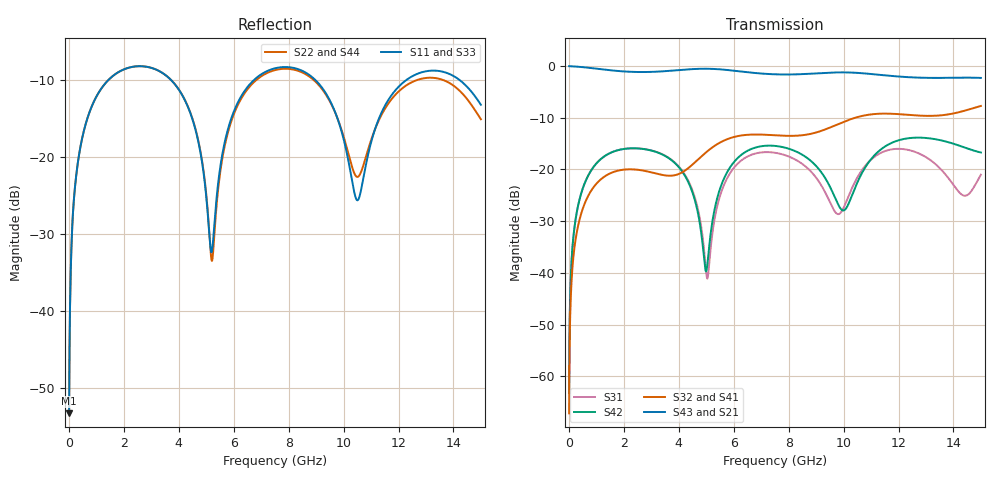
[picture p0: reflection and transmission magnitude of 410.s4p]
! Created with skrf 1.8.0 (http://scikit-rf.org).
# GHz S RI R 50.0
!freq ReS11 ImS11 ReS12 ImS12 ReS13 ImS13
! ReS14 ImS14
! ReS21 ImS21 ReS22 ImS22 ReS23 ImS23
! ReS24 ImS24
! ReS31 ImS31 ReS32 ImS32 ReS33 ImS33
! ReS34 ImS34
! ReS41 ImS41 ReS42 ImS42 ReS43 ImS43
! ReS44 ImS44
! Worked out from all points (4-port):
!   2499 points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, 5 MHz to 15 GHz, reference 50 ohm
!   strongest paths, dB at 5 MHz, 3.476 GHz, 7.19 GHz, 11.1 GHz, 15 GHz:
!     S43: 0.0, -1.0, -1.5, -1.6, -2.3
!     S21: 0.0, -1.0, -1.5, -1.6, -2.3
!     S32: -67.2, -21.1, -13.3, -9.3, -7.7
!     S41: -67.2, -21.1, -13.3, -9.3, -7.7
!     S42: -63.2, -17.3, -15.4, -17.4, -16.7
!     S31: -63.2, -17.3, -16.6, -17.7, -21.0
!   lowest |S11| = -53.3 dB at 5 MHz (marker M1), VSWR 1.00, Z = 50.2 + j0.131 ohm
!   |S11| at or under -10 dB: start of sweep to 1.419 GHz; 3.732 GHz to 6.72 GHz (2.988 GHz wide, 57.2 % of centre); 8.988 GHz to 12.26 GHz (3.276 GHz wide, 30.8 % of centre) (the widest 3 of 4)
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0.005  0.00172 0.00131  0.9982 -0.00335  8.69e-05 0.000686  -8.43e-05 -0.00043
       0.9982 -0.00335  0.00172 0.00131  -8.43e-05 -0.00043  8.69e-05 0.000686
       8.69e-05 0.000686  -8.43e-05 -0.00043  0.00172 0.00131  0.9982 -0.00335
       -8.43e-05 -0.00043  8.69e-05 0.000686  0.9982 -0.00335  0.00172 0.00131
0.3126303  0.0261 0.0857  0.9643 -0.2081  0.0121 0.0405  -0.0101 -0.025
           0.9643 -0.2081  0.0261 0.0857  -0.0101 -0.025  0.0121 0.0405
           0.0121 0.0405  -0.0101 -0.025  0.0261 0.0857  0.9643 -0.2081
           -0.0101 -0.025  0.0121 0.0405  0.9643 -0.2081  0.0261 0.0857
1.569404  0.2887 0.1698  0.5074 -0.7525  0.136 0.0562  -0.0934 0.00103
          0.5074 -0.7525  0.2887 0.1698  -0.0934 0.00105  0.1359 0.0564
          0.136 0.0562  -0.0934 0.00105  0.2887 0.1698  0.5074 -0.7525
          -0.0934 0.00103  0.1359 0.0564  0.5074 -0.7525  0.2887 0.1698
5.202168  0.0242 0.00308  -0.9374 -0.0687  -0.0042 0.0214  -0.00715 0.162
          -0.9374 -0.0687  0.0212 -0.000822  -0.00686 0.162  0.0178 0.0229
          -0.0042 0.0214  -0.00686 0.162  0.0241 0.00276  -0.9374 -0.0687
          -0.00715 0.162  0.0178 0.0229  -0.9374 -0.0687  0.0213 -0.00115
7.997082  0.3851 -0.0237  -0.0309 0.8287  0.1154 -0.0674  0.2057 -0.0471
          -0.0309 0.8287  0.3759 -0.00743  0.206 -0.0479  0.1204 -0.1039
          0.1154 -0.0674  0.206 -0.0479  0.3847 -0.0217  -0.0305 0.8289
          0.2057 -0.0471  0.1204 -0.1039  -0.0305 0.8289  0.3756 -0.00974
10.81701  0.0682 0.0589  0.8451 -0.063  0.0336 0.1057  -0.041 -0.3338
          0.8451 -0.063  0.088 0.05  -0.0431 -0.3325  0.0517 0.0944
          0.0336 0.1057  -0.0431 -0.3325  0.0767 0.0597  0.8448 -0.0646
          -0.041 -0.3338  0.0517 0.0944  0.8448 -0.0646  0.0802 0.0531
15  0.1831 -0.1212  -0.609 -0.4701  -0.0672 0.0583  -0.2605 0.3178
    -0.609 -0.4701  0.1656 -0.062  -0.2608 0.3186  -0.1438 -0.0256
    -0.0672 0.0583  -0.2608 0.3186  0.1767 -0.1303  -0.6088 -0.4689
    -0.2605 0.3178  -0.1438 -0.0256  -0.6088 -0.4689  0.1755 -0.0574
